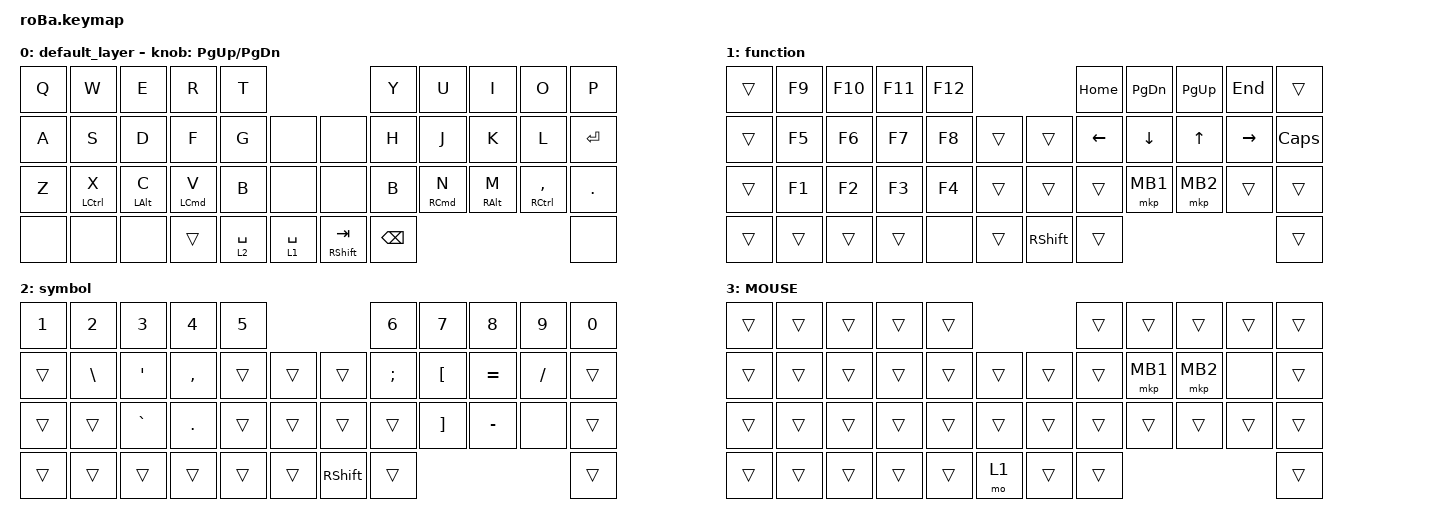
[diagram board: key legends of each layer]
#include <behaviors.dtsi>
#include <dt-bindings/zmk/keys.h>
#include <dt-bindings/zmk/pointing.h>

#define MOUSE 3
#define SCROLL 1
#define NUM 6

&mt {
    flavor = "balanced";
    quick-tap-ms = <0>;
};

/ {
    combos {
        compatible = "zmk,combos";

        esc {
            bindings = <&kp ESC>;
            key-positions = <18 19>;
        };

        alt {
            bindings = <&kp LCTRL>;
            key-positions = <13 12>;
        };
    };

    macros {
        to_layer_0: to_layer_0 {
            compatible = "zmk,behavior-macro-one-param";
            #binding-cells = <1>;
            bindings = <&to 0 &macro_param_1to1 &kp MACRO_PLACEHOLDER>;
            label = "TO_LAYER_0";
        };
    };

    behaviors {
        lt_to_layer_0: lt_to_layer_0 {
            compatible = "zmk,behavior-hold-tap";
            label = "LAYER_TAP_TO_0";
            bindings = <&mo>, <&to_layer_0>;

            #binding-cells = <2>;
            tapping-term-ms = <200>;
        };
    };

    keymap {
        compatible = "zmk,keymap";

        default_layer {
            bindings = <
&kp Q  &kp W        &kp E           &kp R               &kp T                                              &kp Y          &kp U                &kp I            &kp O            &kp P
&kp A  &kp S        &kp D           &kp F               &kp G        &none            &none                &kp H          &kp J                &kp K            &kp L            &kp ENTER
&kp Z  &mt LCTRL X  &mt LEFT_ALT C  &mt LEFT_COMMAND V  &kp B        &none            &none                &kp B          &mt RIGHT_COMMAND N  &mt RIGHT_ALT M  &mt RCTRL COMMA  &kp DOT
&none  &none        &none           &trans              &lt 2 SPACE  &lt 1 SPACE      &mt RIGHT_SHIFT TAB  &kp BACKSPACE                                                         &none
            >;

            sensor-bindings = <&inc_dec_kp PG_UP PAGE_DOWN>;
        };

        function {
            bindings = <
&trans  &kp F9  &kp F10  &kp F11  &kp F12                               &kp HOME  &kp PAGE_DOWN  &kp PAGE_UP   &kp END    &trans
&trans  &kp F5  &kp F6   &kp F7   &kp F8   &trans      &trans           &kp LEFT  &kp DOWN       &kp UP_ARROW  &kp RIGHT  &kp CAPSLOCK
&trans  &kp F1  &kp F2   &kp F3   &kp F4   &trans      &trans           &trans    &mkp MB1       &mkp MB2      &trans     &trans
&trans  &trans  &trans   &trans   &none    &trans      &kp RIGHT_SHIFT  &trans                                            &trans
            >;
        };

        symbol {
            bindings = <
&kp N1  &kp N2    &kp N3     &kp N4     &kp N5                         &kp N6    &kp N7    &kp N8     &kp N9    &kp N0
&trans  &kp BSLH  &kp APOS   &kp COMMA  &trans  &trans      &trans     &kp SEMI  &kp LBKT  &kp EQUAL  &kp FSLH  &trans
&trans  &trans    &kp GRAVE  &kp DOT    &trans  &trans      &trans     &trans    &kp RBKT  &kp MINUS  &none     &trans
&trans  &trans    &trans     &trans     &trans  &trans      &kp RSHFT  &trans                                   &trans
            >;
        };

        MOUSE {
            bindings = <
&trans  &trans  &trans  &trans  &trans                      &trans  &trans    &trans    &trans  &trans
&trans  &trans  &trans  &trans  &trans  &trans      &trans  &trans  &mkp MB1  &mkp MB2  &none   &trans
&trans  &trans  &trans  &trans  &trans  &trans      &trans  &trans  &trans    &trans    &trans  &trans
&trans  &trans  &trans  &trans  &trans  &mo 1       &trans  &trans                              &trans
            >;
        };
    };
};
